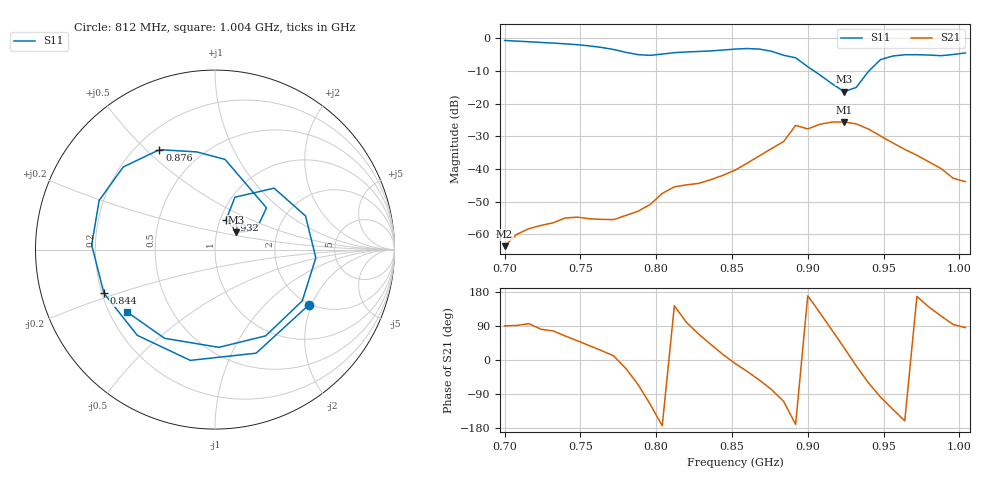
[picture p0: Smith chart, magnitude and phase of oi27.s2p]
# Hz S RI R 50
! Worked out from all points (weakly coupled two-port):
!   39 points, 700 MHz to 1.004 GHz, reference 50 ohm
!   highest |S21| = -25.56 dB at 924 MHz (marker M1); lowest = -63.6 dB at 700 MHz (marker M2)
!   lowest |S11| = -16.3 dB at 924 MHz (marker M3), VSWR 1.36, Z = 62.1 + j12.4 ohm
!   |S11| at or under -10 dB: 904.3 MHz to 940.2 MHz (35.94 MHz wide, 3.9 % of centre)
!   S12 and S22 are empty: the file has one direction only
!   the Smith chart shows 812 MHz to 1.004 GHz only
!   S11 on the Smith chart (normalised r, x): 812 MHz: 1.95, -1.91; 844 MHz: 0.21, -0.18; 876 MHz: 0.29, +0.55; 932 MHz: 1.07, +0.37; 1.004 GHz: 0.27, -0.30
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7e8  0.767 0.5298  -6.68e-07 0.000661  0 0  0 0
7.24e8  0.829 -0.2603  0.000212 0.00136  0 0  0 0
7.4e8  0.4433 -0.6993  0.000802 0.00159  0 0  0 0
7.56e8  -0.1958 -0.7442  0.00137 0.00106  0 0  0 0
7.72e8  -0.6507 -0.1866  0.00166 0.000314  0 0  0 0
7.8e8  -0.5673 0.2324  0.0018 -0.000749  0 0  0 0
7.88e8  -0.2115 0.524  0.000975 -0.00204  0 0  0 0
8.04e8  0.562 0.1292  -0.00422 -0.00048  0 0  0 0
8.12e8  0.5217 -0.3093  -0.00428 0.00321  0 0  0 0
8.28e8  -0.1378 -0.6172  0.00221 0.00562  0 0  0 0
8.44e8  -0.6187 -0.2431  0.00776 0.00204  0 0  0 0
8.52e8  -0.687 0.0256  0.00951 -0.00151  0 0  0 0
8.76e8  -0.3093 0.5569  0.00438 -0.0201  0 0  0 0
8.92e8  0.0558 0.5027  -0.0459 -0.00825  0 0  0 0
9e8  0.2869 0.2326  -0.0406 0.00746  0 0  0 0
9.08e8  0.2411 0.1354  -0.0277 0.0399  0 0  0 0
9.24e8  0.1187 0.0974  0.0446 0.0281  0 0  0 0
9.32e8  0.0624 0.1668  0.0474 -0.0132  0 0  0 0
9.48e8  0.3291 0.3423  -0.00446 -0.0318  0 0  0 0
9.56e8  0.5042 0.1877  -0.0161 -0.0194  0 0  0 0
9.8e8  0.2827 -0.4805  -0.00981 0.00837  0 0  0 0
1.004e9  -0.4901 -0.3474  0.000513 0.0064  0 0  0 0
